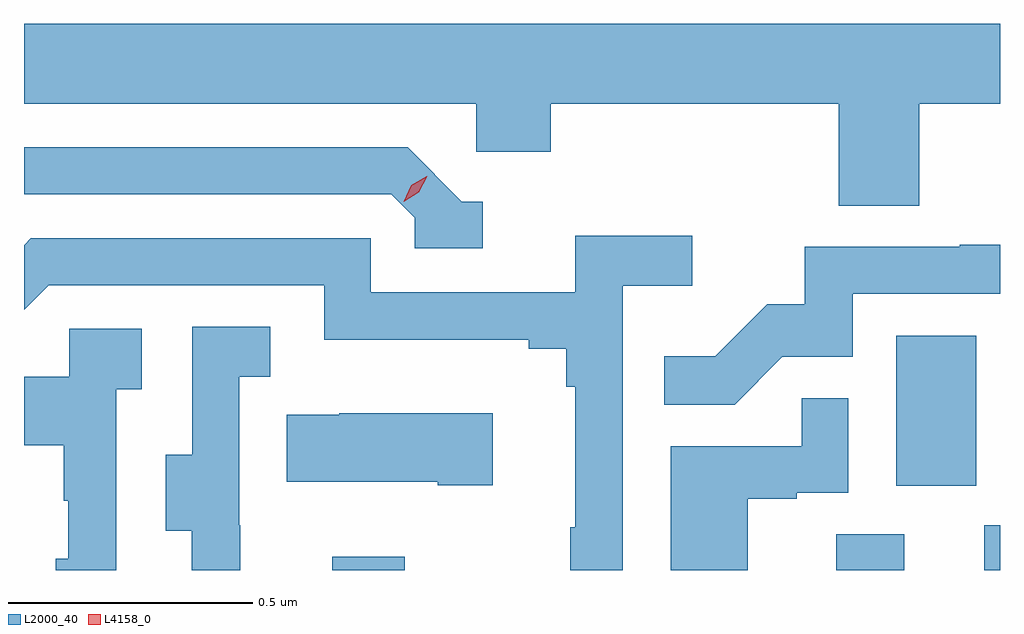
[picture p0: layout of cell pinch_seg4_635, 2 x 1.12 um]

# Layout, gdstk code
import gdstk
lib = gdstk.Library(unit=1e-6, precision=1e-09)
def R(c, l, rs):  # rectangles x0, y0, x1, y1
    for r in rs: c.add(gdstk.rectangle(r[:2], r[2:], *l))
def P(c, l, *ps):  # polygons
    for p in ps: c.add(gdstk.Polygon(p, *l))
L2000_40 = (2000, 40)
L4158_0 = (4158, 0)

pinch_seg4_635 = lib.new_cell('pinch_seg4_635')
R(pinch_seg4_635, L2000_40, [(1045.547,766.561,1045.695,766.588), (1046.579,766.561,1046.719,766.634), (1046.883,766.561,1046.915,766.653), (1046.702,766.734,1046.866,767.041)])
P(pinch_seg4_635, L2000_40, [(1046.75,767.516),(1046.915,767.516),(1046.915,767.68),(1044.915,767.68),(1044.915,767.516),(1045.842,767.516),(1045.842,767.418),(1045.994,767.418),(1045.994,767.516),(1046.585,767.516),(1046.585,767.308),(1046.75,767.308)],
  [(1045.855,767.316),(1045.812,767.316),(1045.701,767.427),(1044.915,767.427),(1044.915,767.331),(1045.668,767.331),(1045.716,767.283),(1045.716,767.22),(1045.855,767.22)],
  [(1046.142,767.144),(1046.284,767.144),(1046.284,767.246),(1046.045,767.246),(1046.045,767.13),(1045.626,767.13),(1045.626,767.241),(1044.929,767.241),(1044.915,767.227),(1044.915,767.094),(1044.966,767.145),(1045.53,767.145),(1045.53,767.033),(1045.949,767.033),(1045.949,767.014),(1046.026,767.014),(1046.026,766.937),(1046.045,766.937),(1046.045,766.649),(1046.034,766.649),(1046.034,766.561),(1046.142,766.561)],
  [(1046.469,766.998),(1046.613,766.998),(1046.613,767.127),(1046.915,767.127),(1046.915,767.228),(1046.833,767.228),(1046.833,767.223),(1046.515,767.223),(1046.515,767.106),(1046.438,767.106),(1046.331,766.999),(1046.227,766.999),(1046.227,766.9),(1046.371,766.9)],
  [(1045.358,766.653),(1045.356,766.653),(1045.356,766.957),(1045.42,766.957),(1045.42,767.06),(1045.26,767.06),(1045.26,766.797),(1045.205,766.797),(1045.205,766.642),(1045.259,766.642),(1045.259,766.561),(1045.358,766.561)],
  [(1045.104,766.931),(1045.156,766.931),(1045.156,767.055),(1045.008,767.055),(1045.008,766.957),(1044.915,766.957),(1044.915,766.817),(1044.996,766.817),(1044.996,766.703),(1045.006,766.703),(1045.006,766.584),(1044.98,766.584),(1044.98,766.561),(1045.104,766.561)],
  [(1046.398,766.707),(1046.498,766.707),(1046.498,766.719),(1046.604,766.719),(1046.604,766.913),(1046.509,766.913),(1046.509,766.815),(1046.24,766.815),(1046.24,766.561),(1046.398,766.561)],
  [(1045.876,766.882),(1045.561,766.882),(1045.561,766.879),(1045.453,766.879),(1045.453,766.742),(1045.763,766.742),(1045.763,766.735),(1045.876,766.735)])
P(pinch_seg4_635, L4158_0, [(1045.693,767.316),(1045.693,767.316),(1045.709,767.349),(1045.74,767.368),(1045.741,767.368),(1045.741,767.368),(1045.724,767.335),(1045.693,767.316)])

lib.write_gds('pinch_seg4_635.gds')
